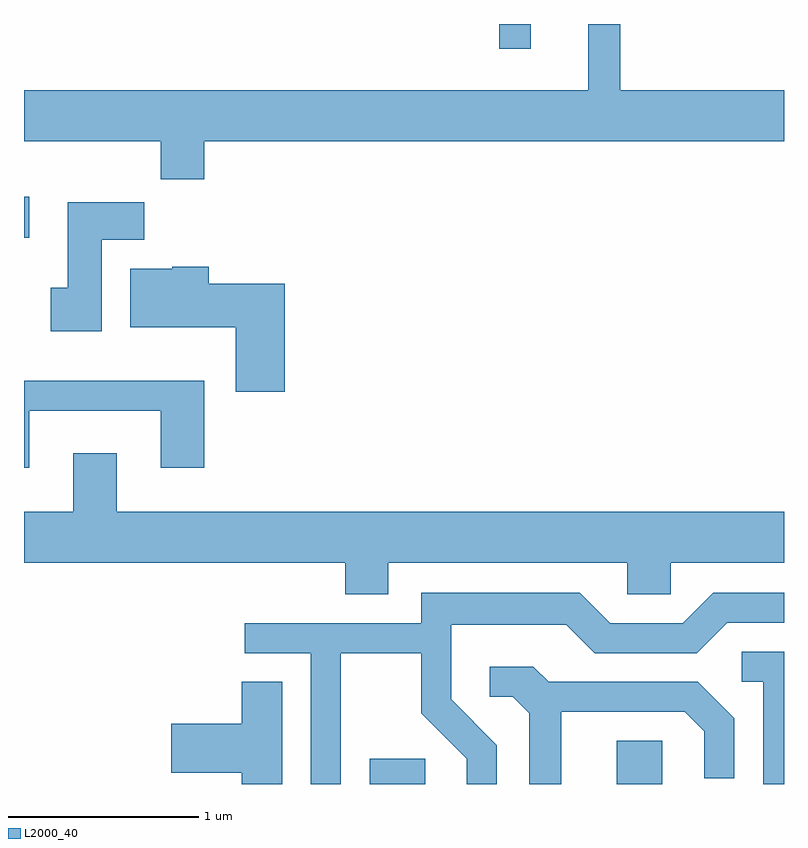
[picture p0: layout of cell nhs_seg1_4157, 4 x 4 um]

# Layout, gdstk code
import gdstk
lib = gdstk.Library(unit=1e-6, precision=1e-09)
def R(c, l, rs):  # rectangles x0, y0, x1, y1
    for r in rs: c.add(gdstk.rectangle(r[:2], r[2:], *l))
def P(c, l, *ps):  # polygons
    for p in ps: c.add(gdstk.Polygon(p, *l))
L2000_40 = (2000, 40)

nhs_seg1_4157 = lib.new_cell('nhs_seg1_4157')
R(nhs_seg1_4157, L2000_40, [(311.431,931.712,311.724,931.844), (312.731,931.712,312.969,931.939), (309.611,934.586,309.639,934.804), (312.111,935.583,312.279,935.712)])
P(nhs_seg1_4157, L2000_40, [(310.559,935.096),(313.611,935.096),(313.611,935.364),(312.749,935.364),(312.749,935.712),(312.581,935.712),(312.581,935.364),(309.611,935.364),(309.611,935.096),(310.331,935.096),(310.331,934.896),(310.559,934.896)],
  [(310.019,934.576),(310.244,934.576),(310.244,934.774),(309.841,934.774),(309.841,934.324),(309.751,934.324),(309.751,934.096),(310.019,934.096)],
  [(310.984,934.344),(310.584,934.344),(310.584,934.434),(310.39,934.434),(310.39,934.424),(310.171,934.424),(310.171,934.116),(310.726,934.116),(310.726,933.776),(310.984,933.776)],
  [(309.639,933.676),(310.331,933.676),(310.331,933.376),(310.559,933.376),(310.559,933.834),(309.611,933.834),(309.611,933.376),(309.639,933.376)],
  [(311.529,932.876),(312.786,932.876),(312.786,932.711),(313.014,932.711),(313.014,932.876),(313.611,932.876),(313.611,933.144),(310.099,933.144),(310.099,933.454),(309.871,933.454),(309.871,933.144),(309.611,933.144),(309.611,932.876),(311.301,932.876),(311.301,932.711),(311.529,932.711)],
  [(311.279,932.401),(311.701,932.401),(311.701,932.084),(311.941,931.844),(311.941,931.712),(312.099,931.712),(312.099,931.917),(311.859,932.157),(311.859,932.551),(312.464,932.551),(312.614,932.401),(313.152,932.401),(313.312,932.561),(313.611,932.561),(313.611,932.719),(313.239,932.719),(313.079,932.559),(312.697,932.559),(312.537,932.719),(311.701,932.719),(311.701,932.559),(310.773,932.559),(310.773,932.401),(311.121,932.401),(311.121,931.712),(311.279,931.712)],
  [(313.611,932.409),(313.388,932.409),(313.388,932.251),(313.501,932.251),(313.501,931.712),(313.611,931.712)],
  [(312.439,932.091),(313.089,932.091),(313.191,931.989),(313.191,931.743),(313.349,931.743),(313.349,932.057),(313.157,932.249),(312.372,932.249),(312.292,932.329),(312.063,932.329),(312.063,932.171),(312.184,932.171),(312.271,932.084),(312.271,931.712),(312.439,931.712)],
  [(310.969,932.249),(310.756,932.249),(310.756,932.029),(310.386,932.029),(310.386,931.771),(310.756,931.771),(310.756,931.712),(310.969,931.712)])

lib.write_gds('nhs_seg1_4157.gds')
